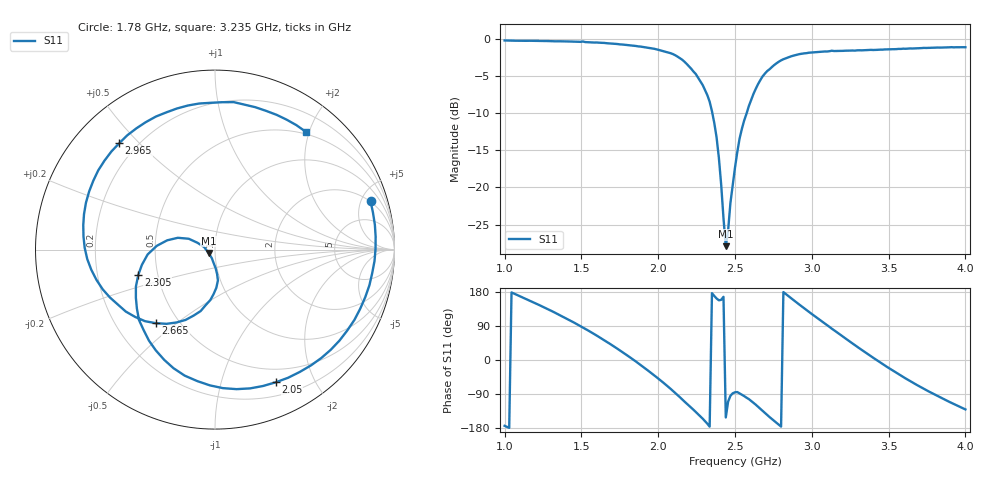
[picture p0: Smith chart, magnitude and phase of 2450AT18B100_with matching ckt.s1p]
!JTI P/N: 2450AT18B100
!with Matching Circuit: 1.2pF(series), 2.7nH(shunt), 3.3nH(series)
!Agilent N5230A: A.07.11.03
!Date: Tuesday, May 08, 2007 12:12:46
!Single Port Ecal:S11(Full 1 Port(1))
!S1P File: Measurement: S11:
# Hz S  dB  R 50
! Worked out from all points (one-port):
!   201 points, 1 GHz to 4 GHz, reference 50 ohm
!   lowest |S11| = -27.9 dB at 2.44 GHz (marker M1), VSWR 1.08, Z = 46.5 - j1.79 ohm
!   |S11| at or under -10 dB: 2.352 GHz to 2.576 GHz (224.1 MHz wide, 9.09 % of centre)
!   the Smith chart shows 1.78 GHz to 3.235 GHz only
!   S11 on the Smith chart (normalised r, x): 1.78 GHz: 1.95, +5.97; 2.05 GHz: 0.34, -1.50; 2.305 GHz: 0.39, -0.14; 2.665 GHz: 0.37, -0.42; 2.965 GHz: 0.13, +0.44; 3.235 GHz: 0.46, +1.94
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1e9  -0.26 -173.7
1.18e9  -0.31 153.7
1.375e9  -0.38 115.1
1.555e9  -0.50 75.2
1.645e9  -0.59 53.2
1.75e9  -0.79 25.5
1.78e9  -0.84 17.3
1.915e9  -1.17 -22.2
2.05e9  -1.80 -65.4
2.125e9  -2.42 -92.2
2.215e9  -4.06 -126.0
2.305e9  -6.92 -161.7
2.38e9  -13.26 162.4
2.44e9  -27.88 -151.7
2.5e9  -17.33 -85.2
2.56e9  -10.98 -95.3
2.665e9  -5.58 -128.8
2.785e9  -3.12 -170.8
2.875e9  -2.33 160.0
2.965e9  -1.97 132.0
3.1e9  -1.74 91.9
3.235e9  -1.63 52.4
3.25e9  -1.62 48.0
3.34e9  -1.57 22.4
3.43e9  -1.52 -2.3
3.625e9  -1.35 -52.0
3.805e9  -1.22 -92.1
4e9  -1.17 -130.4
